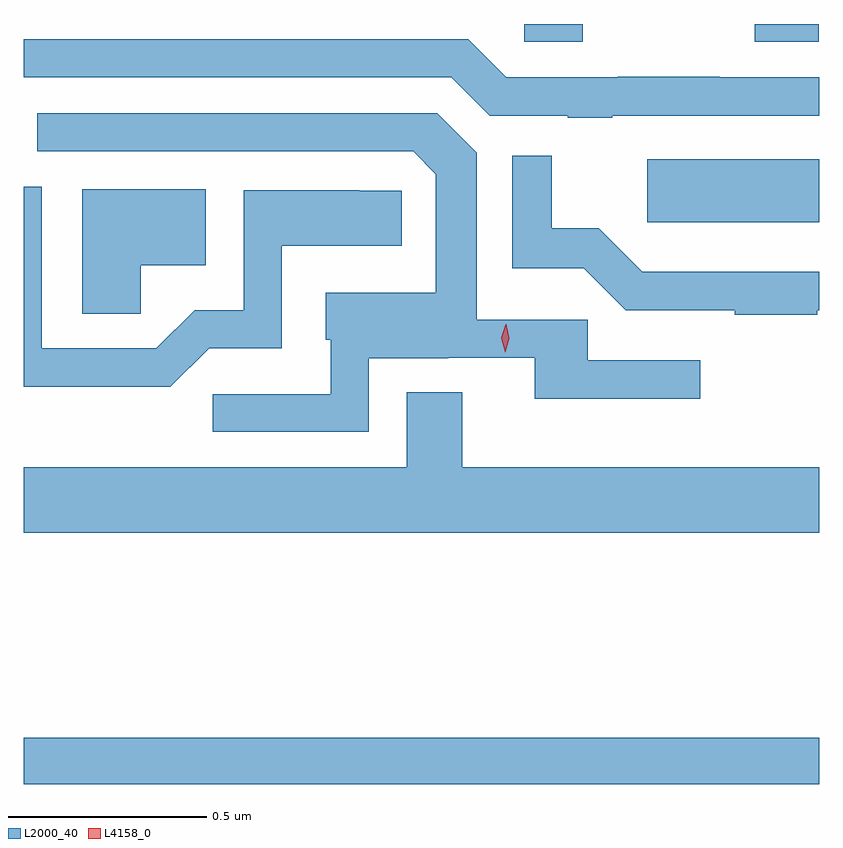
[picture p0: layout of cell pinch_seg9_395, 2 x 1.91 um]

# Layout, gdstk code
import gdstk
lib = gdstk.Library(unit=1e-6, precision=1e-09)
def R(c, l, rs):  # rectangles x0, y0, x1, y1
    for r in rs: c.add(gdstk.rectangle(r[:2], r[2:], *l))
def P(c, l, *ps):  # polygons
    for p in ps: c.add(gdstk.Polygon(p, *l))
L2000_40 = (2000, 40)
L4158_0 = (4158, 0)

pinch_seg9_395 = lib.new_cell('pinch_seg9_395')
R(pinch_seg9_395, L2000_40, [(304.604,1227.756,306.604,1227.872), (306.171,1229.168,306.604,1229.326), (306.442,1229.621,306.602,1229.666), (305.862,1229.622,306.009,1229.666)])
P(pinch_seg9_395, L2000_40, [(306.083,1229.436),(306.604,1229.436),(306.604,1229.532),(306.353,1229.532),(306.353,1229.534),(306.097,1229.534),(306.097,1229.532),(305.817,1229.532),(305.721,1229.628),(304.604,1229.628),(304.604,1229.532),(305.679,1229.532),(305.775,1229.436),(305.972,1229.436),(305.972,1229.431),(306.083,1229.431)],
  [(305.472,1228.826),(305.671,1228.826),(305.671,1228.827),(305.888,1228.827),(305.888,1228.724),(306.304,1228.724),(306.304,1228.821),(306.022,1228.821),(306.022,1228.923),(305.743,1228.923),(305.743,1229.342),(305.643,1229.442),(304.638,1229.442),(304.638,1229.346),(305.583,1229.346),(305.64,1229.289),(305.64,1228.99),(305.363,1228.99),(305.363,1228.872),(305.376,1228.872),(305.376,1228.736),(305.079,1228.736),(305.079,1228.641),(305.472,1228.641)],
  [(306.599,1228.947),(306.604,1228.947),(306.604,1229.043),(306.159,1229.043),(306.049,1229.153),(305.931,1229.153),(305.931,1229.335),(305.832,1229.335),(305.832,1229.052),(306.012,1229.052),(306.117,1228.947),(306.391,1228.947),(306.391,1228.935),(306.599,1228.935)],
  [(305.07,1228.851),(305.253,1228.851),(305.253,1229.109),(305.554,1229.109),(305.554,1229.247),(305.447,1229.247),(305.447,1229.248),(305.157,1229.248),(305.157,1228.947),(305.034,1228.947),(304.938,1228.851),(304.65,1228.851),(304.65,1229.257),(304.604,1229.257),(304.604,1228.754),(304.973,1228.754)],
  [(304.898,1229.06),(305.062,1229.06),(305.062,1229.251),(304.751,1229.251),(304.751,1228.938),(304.898,1228.938)],
  [(306.604,1228.552),(305.707,1228.552),(305.707,1228.741),(305.567,1228.741),(305.567,1228.552),(304.604,1228.552),(304.604,1228.388),(306.604,1228.388)])
P(pinch_seg9_395, L4158_0, [(305.814,1228.841),(305.814,1228.841),(305.805,1228.877),(305.816,1228.912),(305.816,1228.912),(305.817,1228.912),(305.825,1228.876),(305.814,1228.841)])

lib.write_gds('pinch_seg9_395.gds')
